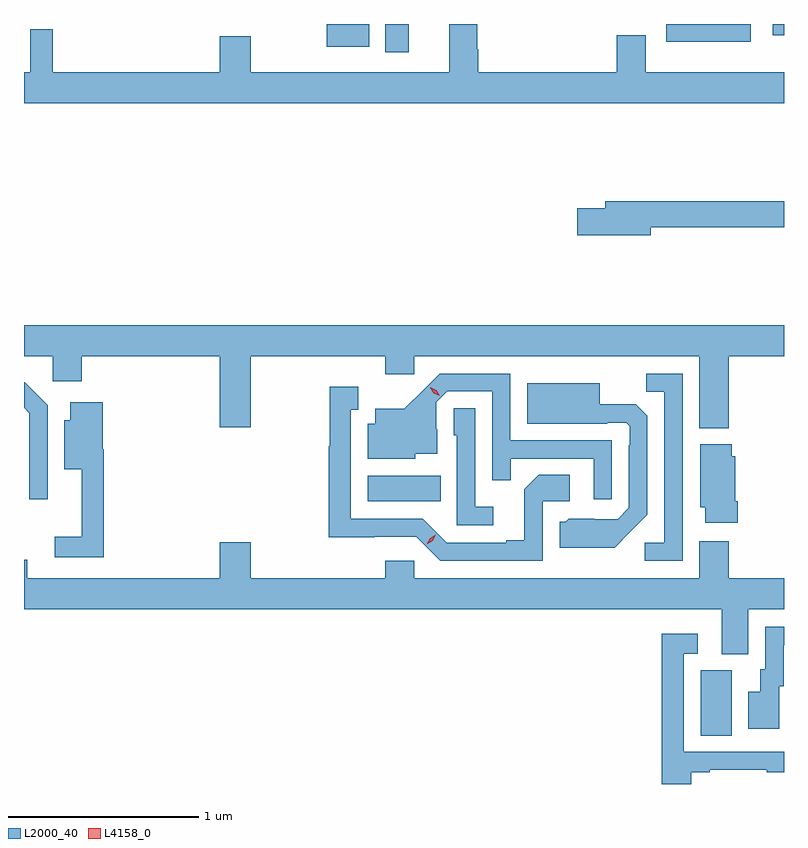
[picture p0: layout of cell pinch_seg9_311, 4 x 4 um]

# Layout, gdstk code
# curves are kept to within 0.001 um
import gdstk
lib = gdstk.Library(unit=1e-6, precision=1e-09)
def R(c, l, rs):  # rectangles x0, y0, x1, y1
    for r in rs: c.add(gdstk.rectangle(r[:2], r[2:], *l))
def P(c, l, *ps):  # polygons
    for p in ps: c.add(gdstk.Polygon(p, *l))
L2000_40 = (2000, 40)
L4158_0 = (4158, 0)

pinch_seg9_311 = lib.new_cell('pinch_seg9_311')
R(pinch_seg9_311, L2000_40, [(611.096,1178.44,611.26,1178.784), (609.344,1179.674,609.728,1179.808), (609.437,1182.036,609.559,1182.185), (609.128,1182.065,609.352,1182.185), (610.916,1182.092,611.359,1182.185), (611.477,1182.126,611.535,1182.185), (610.232,1182.183,610.403,1182.185)])
P(pinch_seg9_311, L2000_40, [(609.773,1182.184),(609.773,1181.932),(608.728,1181.932),(608.728,1182.121),(608.564,1182.121),(608.564,1181.932),(607.685,1181.932),(607.685,1182.157),(607.568,1182.157),(607.568,1181.932),(607.535,1181.932),(607.535,1181.768),(611.535,1181.768),(611.535,1181.932),(610.807,1181.932),(610.807,1182.127),(610.655,1182.127),(610.655,1181.932),(609.926,1181.932),(609.926,1182.053),(609.921,1182.053),(609.921,1182.184)],
  [(610.834,1181.116),(611.535,1181.116),(611.535,1181.252),(610.595,1181.252),(610.595,1181.216),(610.446,1181.216),(610.446,1181.074),(610.834,1181.074)],
  [(607.535,1180.436),(607.686,1180.436),(607.686,1180.305),(607.838,1180.305),(607.838,1180.436),(608.564,1180.436),(608.564,1180.062),(608.728,1180.062),(608.728,1180.436),(609.437,1180.436),(609.437,1180.341),(609.588,1180.341),(609.588,1180.436),(611.09,1180.436),(611.09,1180.058),(611.243,1180.058),(611.243,1180.436),(611.535,1180.436),(611.535,1180.6),(607.535,1180.6)],
  [(610.629,1179.993),(610.095,1179.993),(610.095,1180.344),(609.722,1180.344),(609.535,1180.159),(609.383,1180.159),(609.383,1180.081),(609.344,1180.081),(609.344,1179.896),(609.594,1179.896),(609.594,1179.923),(609.709,1179.923),(609.709,1180.052),(609.705,1180.052),(609.705,1180.194),(609.762,1180.251),(609.999,1180.251),(609.999,1179.784),(610.097,1179.784),(610.097,1179.897),(610.533,1179.897),(610.533,1179.684),(610.629,1179.684)],
  [(611.001,1180.344),(610.81,1180.344),(610.81,1180.249),(610.905,1180.249),(610.905,1179.456),(610.803,1179.456),(610.803,1179.36),(611.001,1179.36)],
  [(607.659,1180.179),(607.538,1180.3),(607.535,1180.3),(607.535,1180.165),(607.563,1180.137),(607.563,1179.684),(607.659,1179.684)],
  [(610.723,1179.509),(610.815,1179.602),(610.815,1180.124),(610.756,1180.183),(610.564,1180.183),(610.564,1180.294),(610.184,1180.294),(610.184,1180.082),(610.604,1180.082),(610.604,1180.086),(610.704,1180.086),(610.722,1180.068),(610.722,1179.968),(610.719,1179.968),(610.719,1179.639),(610.659,1179.579),(610.402,1179.58),(610.386,1179.564),(610.355,1179.564),(610.355,1179.428),(610.643,1179.428)],
  [(610.266,1179.672),(610.408,1179.672),(610.408,1179.812),(610.243,1179.812),(610.167,1179.736),(610.167,1179.469),(610.073,1179.469),(610.073,1179.456),(609.759,1179.456),(609.633,1179.582),(609.256,1179.582),(609.256,1180.155),(609.295,1180.155),(609.295,1180.276),(609.145,1180.276),(609.145,1179.963),(609.138,1179.963),(609.138,1179.485),(609.6,1179.486),(609.726,1179.36),(610.266,1179.36)],
  [(607.955,1179.946),(607.949,1179.946),(607.949,1180.195),(607.778,1180.195),(607.778,1180.099),(607.748,1180.099),(607.748,1179.842),(607.838,1179.842),(607.838,1179.487),(607.698,1179.487),(607.698,1179.378),(607.955,1179.378)],
  [(610.006,1179.643),(609.909,1179.643),(609.909,1180.163),(609.798,1180.163),(609.798,1180.02),(609.813,1180.02),(609.813,1179.546),(610.006,1179.546)],
  [(611.291,1179.673),(611.278,1179.673),(611.278,1179.909),(611.26,1179.909),(611.26,1179.973),(611.093,1179.973),(611.093,1179.642),(611.12,1179.642),(611.12,1179.561),(611.291,1179.561)],
  [(611.347,1179.104),(611.535,1179.104),(611.535,1179.268),(611.243,1179.268),(611.243,1179.463),(611.09,1179.463),(611.09,1179.268),(609.588,1179.268),(609.588,1179.361),(609.437,1179.361),(609.437,1179.268),(608.728,1179.268),(608.728,1179.457),(608.564,1179.457),(608.564,1179.268),(607.552,1179.268),(607.552,1179.366),(607.535,1179.366),(607.535,1179.104),(611.207,1179.104),(611.207,1178.869),(611.347,1178.869)],
  [(611.509,1178.7),(611.533,1178.7),(611.533,1178.916),(611.535,1178.916),(611.535,1179.012),(611.436,1179.012),(611.436,1178.79),(611.411,1178.79),(611.411,1178.671),(611.348,1178.671),(611.348,1178.475),(611.509,1178.475)],
  [(611.047,1178.247),(611.143,1178.247),(611.143,1178.259),(611.443,1178.259),(611.443,1178.247),(611.535,1178.247),(611.535,1178.355),(611.007,1178.355),(611.007,1178.871),(611.08,1178.871),(611.08,1178.977),(610.891,1178.977),(610.891,1178.185),(611.047,1178.185)])
P(pinch_seg9_311, L4158_0, [(609.722,1180.228),(609.691,1180.242),(609.673,1180.271),(609.673,1180.272),(609.673,1180.272),(609.704,1180.257),(609.722,1180.228),(609.722,1180.228)],
  [(609.654,1179.446),(609.654,1179.446),(609.672,1179.479),(609.703,1179.498),(609.703,1179.498),(609.703,1179.498),(609.686,1179.465),(609.655,1179.446)])

lib.write_gds('pinch_seg9_311.gds')
